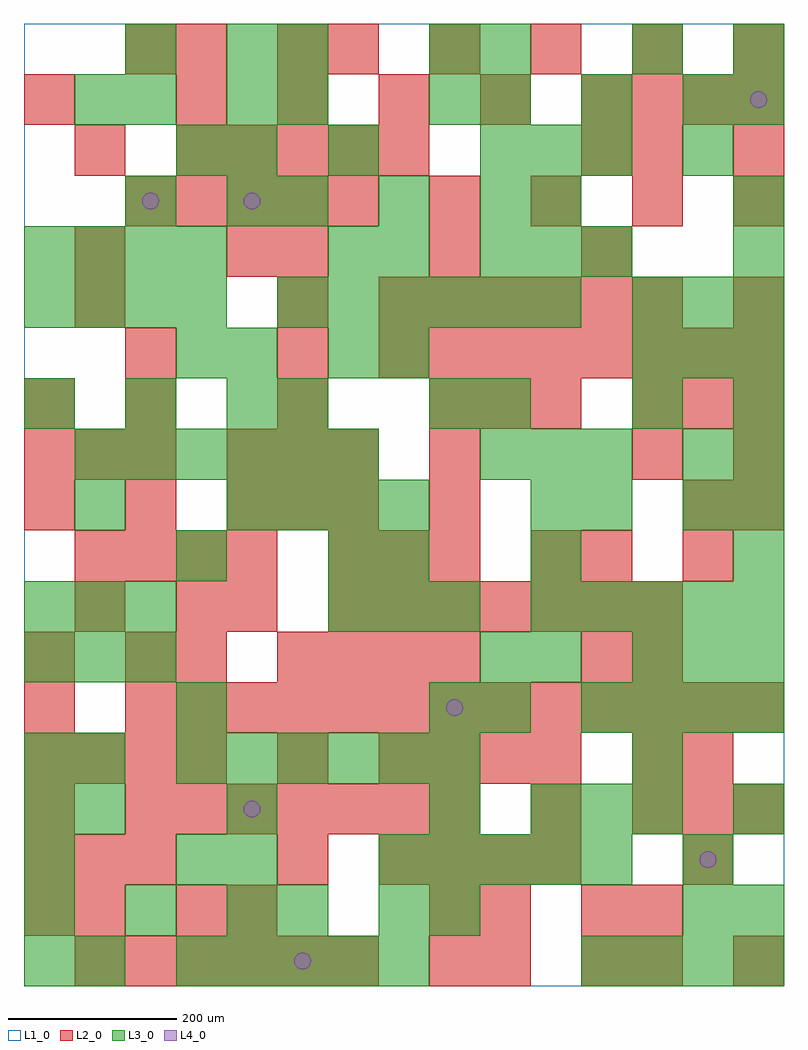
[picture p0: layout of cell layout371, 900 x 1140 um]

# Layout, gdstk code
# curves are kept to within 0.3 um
import gdstk
lib = gdstk.Library(unit=1e-6, precision=1e-09)
def R(c, l, rs):  # rectangles x0, y0, x1, y1
    for r in rs: c.add(gdstk.rectangle(r[:2], r[2:], *l))
def A(c, l, x, y, w, h, nx, ny, dx, dy):  # array of equal rectangles
    R(c, l, [(x+i*dx, y+j*dy, x+i*dx+w, y+j*dy+h) for i in range(nx) for j in range(ny)])
def P(c, l, *ps):  # polygons
    for p in ps: c.add(gdstk.Polygon(p, *l))
L1_0 = (1, 0)
L2_0 = (2, 0)
L3_0 = (3, 0)
L4_0 = (4, 0)

layout371 = lib.new_cell('layout371')
R(layout371, L1_0, [(0,0,900,1140)])
A(layout371, L2_0, 60, 0, 60, 60, 6, 1, 60, 0)
A(layout371, L2_0, 0, 60, 60, 60, 1, 3, 0, 120)
A(layout371, L2_0, 60, 60, 60, 60, 1, 3, 0, 360)
A(layout371, L2_0, 0, 120, 60, 60, 3, 2, 60, 480)
A(layout371, L2_0, 420, 120, 60, 60, 4, 2, 60, 120)
A(layout371, L2_0, 120, 180, 60, 60, 7, 1, 60, 0)
A(layout371, L2_0, 720, 180, 60, 60, 3, 2, 60, 480)
A(layout371, L2_0, 0, 240, 60, 60, 4, 1, 60, 0)
A(layout371, L2_0, 120, 300, 60, 60, 13, 1, 60, 0)
A(layout371, L2_0, 120, 360, 60, 60, 1, 3, 0, 360)
A(layout371, L2_0, 300, 360, 60, 60, 4, 1, 60, 0)
A(layout371, L2_0, 360, 420, 60, 60, 7, 1, 60, 0)
A(layout371, L2_0, 60, 480, 60, 60, 4, 1, 60, 0)
A(layout371, L2_0, 360, 480, 60, 60, 3, 1, 60, 0)
A(layout371, L2_0, 0, 540, 60, 60, 3, 1, 120, 0)
A(layout371, L2_0, 240, 600, 60, 60, 3, 1, 60, 0)
A(layout371, L2_0, 840, 600, 60, 60, 1, 3, 0, 180)
A(layout371, L2_0, 120, 660, 60, 60, 3, 1, 180, 0)
A(layout371, L2_0, 420, 720, 60, 60, 8, 1, 60, 0)
A(layout371, L2_0, 420, 780, 60, 60, 6, 1, 60, 0)
A(layout371, L2_0, 300, 840, 60, 60, 3, 1, 180, 0)
A(layout371, L2_0, 120, 900, 60, 60, 5, 1, 60, 0)
A(layout371, L2_0, 480, 900, 60, 60, 4, 1, 120, 0)
A(layout371, L2_0, 180, 960, 60, 60, 5, 1, 60, 0)
A(layout371, L2_0, 180, 1020, 60, 60, 5, 1, 120, 0)
A(layout371, L2_0, 720, 1020, 60, 60, 3, 1, 60, 0)
A(layout371, L2_0, 360, 1080, 60, 60, 5, 1, 120, 0)
R(layout371, L2_0, [(480,0,540,60), (540,0,600,60), (660,0,720,60), (720,0,780,60), (840,0,900,60), (180,60,240,120), (240,60,300,120), (480,60,540,120), (540,60,600,120), (660,60,720,120), (720,60,780,120), (300,120,360,180), (780,120,840,180), (600,180,660,240), (300,240,360,300), (720,240,780,300), (780,240,840,300), (0,360,60,420), (180,360,240,420), (660,360,720,420), (720,360,780,420), (180,420,240,480), (240,420,300,480), (600,480,660,540), (660,480,720,540), (780,480,840,540), (300,540,360,600), (360,540,420,600), (480,540,540,600), (780,540,840,600), (840,540,900,600), (480,600,540,660), (720,600,780,660), (0,660,60,720), (540,660,600,720), (600,660,660,720), (300,720,360,780), (300,780,360,840), (60,840,120,900), (240,840,300,900), (60,960,120,1020), (660,960,720,1020), (720,960,780,1020), (0,1020,60,1080), (180,1080,240,1140), (300,1080,360,1140)])
A(layout371, L3_0, 180, 0, 60, 60, 5, 1, 60, 0)
A(layout371, L3_0, 660, 0, 60, 60, 4, 2, 60, 300)
A(layout371, L3_0, 0, 60, 60, 60, 3, 2, 120, 600)
A(layout371, L3_0, 480, 60, 60, 60, 1, 3, 0, 120)
A(layout371, L3_0, 0, 120, 60, 60, 1, 3, 0, 60)
A(layout371, L3_0, 180, 120, 60, 60, 1, 3, 0, 180)
A(layout371, L3_0, 420, 120, 60, 60, 5, 1, 60, 0)
A(layout371, L3_0, 600, 180, 60, 60, 3, 1, 60, 0)
A(layout371, L3_0, 180, 240, 60, 60, 6, 1, 60, 0)
A(layout371, L3_0, 720, 240, 60, 60, 1, 3, 0, 420)
A(layout371, L3_0, 0, 360, 60, 60, 3, 2, 60, 60)
A(layout371, L3_0, 720, 360, 60, 60, 3, 2, 60, 360)
A(layout371, L3_0, 360, 420, 60, 60, 3, 1, 60, 0)
A(layout371, L3_0, 600, 420, 60, 60, 5, 1, 60, 0)
A(layout371, L3_0, 840, 480, 60, 60, 1, 4, 0, 60)
A(layout371, L3_0, 240, 540, 60, 60, 4, 1, 60, 0)
A(layout371, L3_0, 60, 600, 60, 60, 6, 1, 60, 0)
A(layout371, L3_0, 540, 600, 60, 60, 3, 2, 60, 240)
A(layout371, L3_0, 360, 720, 60, 60, 1, 3, 0, 120)
A(layout371, L3_0, 0, 780, 60, 60, 4, 2, 60, 60)
A(layout371, L3_0, 300, 780, 60, 60, 6, 1, 60, 0)
A(layout371, L3_0, 720, 780, 60, 60, 3, 1, 60, 0)
A(layout371, L3_0, 240, 900, 60, 60, 1, 4, 0, 60)
A(layout371, L3_0, 300, 900, 60, 60, 3, 1, 120, 0)
A(layout371, L3_0, 540, 960, 60, 60, 3, 1, 60, 0)
A(layout371, L3_0, 540, 1020, 60, 60, 3, 1, 120, 0)
R(layout371, L3_0, [(0,0,60,60), (60,0,120,60), (300,60,360,120), (420,60,480,120), (780,60,840,120), (840,60,900,120), (240,120,300,180), (780,120,840,180), (60,180,120,240), (240,180,300,240), (840,180,900,240), (60,240,120,300), (540,300,600,360), (540,360,600,420), (600,360,660,420), (360,480,420,540), (420,480,480,540), (600,480,660,540), (60,540,120,600), (600,540,660,600), (660,540,720,600), (780,540,840,600), (780,600,840,660), (300,660,360,720), (480,660,540,720), (540,660,600,720), (180,720,240,780), (240,720,300,780), (420,720,480,780), (420,840,480,900), (840,840,900,900), (120,900,180,960), (600,900,660,960), (840,900,900,960), (180,960,240,1020), (780,960,840,1020), (60,1020,120,1080), (120,1020,180,1080), (300,1020,360,1080), (480,1020,540,1080), (840,1020,900,1080), (120,1080,180,1140), (300,1080,360,1140), (480,1080,540,1140), (540,1080,600,1140), (840,1080,900,1140)])
P(layout371, L4_0, [(160,930),(159.239,933.827),(157.071,937.071),(153.827,939.239),(150,940),(146.173,939.239),(142.929,937.071),(140.761,933.827),(140,930),(140.761,926.173),(142.929,922.929),(146.173,920.761),(150,920),(153.827,920.761),(157.071,922.929),(159.239,926.173)],
  [(280,210),(279.239,213.827),(277.071,217.071),(273.827,219.239),(270,220),(266.173,219.239),(262.929,217.071),(260.761,213.827),(260,210),(260.761,206.173),(262.929,202.929),(266.173,200.761),(270,200),(273.827,200.761),(277.071,202.929),(279.239,206.173)],
  [(280,930),(279.239,933.827),(277.071,937.071),(273.827,939.239),(270,940),(266.173,939.239),(262.929,937.071),(260.761,933.827),(260,930),(260.761,926.173),(262.929,922.929),(266.173,920.761),(270,920),(273.827,920.761),(277.071,922.929),(279.239,926.173)],
  [(340,30),(339.239,33.827),(337.071,37.071),(333.827,39.239),(330,40),(326.173,39.239),(322.929,37.071),(320.761,33.827),(320,30),(320.761,26.173),(322.929,22.929),(326.173,20.761),(330,20),(333.827,20.761),(337.071,22.929),(339.239,26.173)],
  [(520,330),(519.239,333.827),(517.071,337.071),(513.827,339.239),(510,340),(506.173,339.239),(502.929,337.071),(500.761,333.827),(500,330),(500.761,326.173),(502.929,322.929),(506.173,320.761),(510,320),(513.827,320.761),(517.071,322.929),(519.239,326.173)],
  [(820,150),(819.239,153.827),(817.071,157.071),(813.827,159.239),(810,160),(806.173,159.239),(802.929,157.071),(800.761,153.827),(800,150),(800.761,146.173),(802.929,142.929),(806.173,140.761),(810,140),(813.827,140.761),(817.071,142.929),(819.239,146.173)],
  [(880,1050),(879.239,1053.827),(877.071,1057.071),(873.827,1059.239),(870,1060),(866.173,1059.239),(862.929,1057.071),(860.761,1053.827),(860,1050),(860.761,1046.173),(862.929,1042.929),(866.173,1040.761),(870,1040),(873.827,1040.761),(877.071,1042.929),(879.239,1046.173)])

lib.write_gds('layout371.gds')
